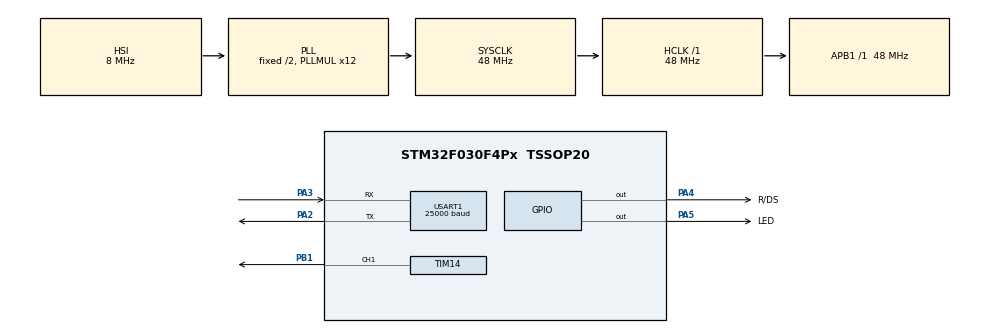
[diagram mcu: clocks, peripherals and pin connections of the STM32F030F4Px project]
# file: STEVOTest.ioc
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Mcu.Family=STM32F0
Mcu.Name=STM32F030F4Px
Mcu.Package=TSSOP20
NVIC.TIM1_BRK_UP_TRG_COM_IRQn=true\:0\:0\:false\:false\:true\:false\:true
NVIC.TIM3_IRQn=true\:0\:0\:false\:false\:true\:true\:true
NVIC.TimeBase=TIM1_BRK_UP_TRG_COM_IRQn
NVIC.TimeBaseIP=TIM1
NVIC.USART1_IRQn=true\:0\:0\:false\:false\:true\:true\:true
PA13.Mode=Serial_Wire
PA13.Signal=SYS_SWDIO
PA14.Mode=Serial_Wire
PA14.Signal=SYS_SWCLK
PA2.Mode=Asynchronous
PA2.Signal=USART1_TX
PA3.Mode=Asynchronous
PA3.Signal=USART1_RX
PA4.GPIO_Label=R/DS
PA4.Signal=GPIO_Output
PA5.GPIO_Label=LED
PA5.Signal=GPIO_Output
PB1.Signal=S_TIM14_CH1
ProjectManager.HeapSize=0x200
ProjectManager.StackSize=0x400
ProjectManager.TargetToolchain=STM32CubeIDE
RCC.AHBFreq_Value=48000000
RCC.APB1Freq_Value=48000000
RCC.APB1TimFreq_Value=48000000
RCC.HCLKFreq_Value=48000000
RCC.PLLMUL=RCC_PLL_MUL12
RCC.SYSCLKFreq_VALUE=48000000
RCC.SYSCLKSource=RCC_SYSCLKSOURCE_PLLCLK
SH.S_TIM14_CH1.0=TIM14_CH1,PWM Generation1 CH1
TIM14.AutoReloadPreload=TIM_AUTORELOAD_PRELOAD_ENABLE
TIM14.Channel=TIM_CHANNEL_1
TIM14.Period=999
TIM14.Prescaler=959
TIM3.AutoReloadPreload=TIM_AUTORELOAD_PRELOAD_ENABLE
TIM3.Period=999
TIM3.Prescaler=47
USART1.BaudRate=25000
USART1.VirtualMode-Asynchronous=VM_ASYNC
USART1.WordLength=WORDLENGTH_9B
VP_SYS_VS_tim1.Mode=TIM1
VP_TIM14_VS_ClockSourceINT.Mode=Enable_Timer
VP_TIM3_VS_ClockSourceINT.Mode=Internal
board=custom

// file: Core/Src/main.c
/* USER CODE BEGIN Header */
/**
  ******************************************************************************
  * @file           : main.c
  * @brief          : Main program body
  ******************************************************************************
  * @attention
  *
  * <h2><center>&copy; Copyright (c) 2020 STMicroelectronics.
  * All rights reserved.</center></h2>
  *
  * This software component is licensed by ST under BSD 3-Clause license,
  * the "License"; You may not use this file except in compliance with the
  * License. You may obtain a copy of the License at:
  *                        opensource.org/licenses/BSD-3-Clause
  *
  ******************************************************************************
  */
/* USER CODE END Header */
#include "main.h"

/* USER CODE BEGIN Includes */
#include "dmx512.h"
/* USER CODE END Includes */

TIM_HandleTypeDef htim3;
TIM_HandleTypeDef htim14;

UART_HandleTypeDef huart1;

void SystemClock_Config(void);
static void MX_GPIO_Init(void);
static void MX_TIM3_Init(void);
static void MX_USART1_UART_Init(void);
static void MX_TIM14_Init(void);
/* USER CODE BEGIN PFP */
void init_All_Perhaps(void);
void RS485_RW(S_455_RW rdwt);
/* USER CODE END PFP */

int main(void)
{

  /* MCU Configuration--------------------------------------------------------*/

  /* Reset of all peripherals, Initializes the Flash interface and the Systick. */
  HAL_Init();

  /* Configure the system clock */
  SystemClock_Config();

  /* Initialize all configured peripherals */
  MX_GPIO_Init();
  MX_TIM3_Init();
  MX_USART1_UART_Init();
  MX_TIM14_Init();
  /* USER CODE BEGIN 2 */
  init_All_Perhaps();
  /* USER CODE END 2 */

  /* Infinite loop */
  while (1)
  {

    /* USER CODE BEGIN 3 */
	  dmx512_service();
  }
  /* USER CODE END 3 */
}

void SystemClock_Config(void)
{
  RCC_OscInitTypeDef RCC_OscInitStruct = {0};
  RCC_ClkInitTypeDef RCC_ClkInitStruct = {0};
  RCC_PeriphCLKInitTypeDef PeriphClkInit = {0};

  /** Initializes the RCC Oscillators according to the specified parameters
  * in the RCC_OscInitTypeDef structure.
  */
  RCC_OscInitStruct.OscillatorType = RCC_OSCILLATORTYPE_HSI;
  RCC_OscInitStruct.HSIState = RCC_HSI_ON;
  RCC_OscInitStruct.HSICalibrationValue = RCC_HSICALIBRATION_DEFAULT;
  RCC_OscInitStruct.PLL.PLLState = RCC_PLL_ON;
  RCC_OscInitStruct.PLL.PLLSource = RCC_PLLSOURCE_HSI;
  RCC_OscInitStruct.PLL.PLLMUL = RCC_PLL_MUL12;
  RCC_OscInitStruct.PLL.PREDIV = RCC_PREDIV_DIV1;
  if (HAL_RCC_OscConfig(&RCC_OscInitStruct) != HAL_OK)
  {
    Error_Handler();
  }
  /** Initializes the CPU, AHB and APB buses clocks
  */
  RCC_ClkInitStruct.ClockType = RCC_CLOCKTYPE_HCLK|RCC_CLOCKTYPE_SYSCLK
                              |RCC_CLOCKTYPE_PCLK1;
  RCC_ClkInitStruct.SYSCLKSource = RCC_SYSCLKSOURCE_PLLCLK;
  RCC_ClkInitStruct.AHBCLKDivider = RCC_SYSCLK_DIV1;
  RCC_ClkInitStruct.APB1CLKDivider = RCC_HCLK_DIV1;

  if (HAL_RCC_ClockConfig(&RCC_ClkInitStruct, FLASH_LATENCY_1) != HAL_OK)
  {
    Error_Handler();
  }
  PeriphClkInit.PeriphClockSelection = RCC_PERIPHCLK_USART1;
  PeriphClkInit.Usart1ClockSelection = RCC_USART1CLKSOURCE_PCLK1;
  if (HAL_RCCEx_PeriphCLKConfig(&PeriphClkInit) != HAL_OK)
  {
    Error_Handler();
  }
}

static void MX_TIM3_Init(void)
{

  TIM_ClockConfigTypeDef sClockSourceConfig = {0};
  TIM_MasterConfigTypeDef sMasterConfig = {0};

  htim3.Instance = TIM3;
  htim3.Init.Prescaler = 47;
  htim3.Init.CounterMode = TIM_COUNTERMODE_UP;
  htim3.Init.Period = 999;
  htim3.Init.ClockDivision = TIM_CLOCKDIVISION_DIV1;
  htim3.Init.AutoReloadPreload = TIM_AUTORELOAD_PRELOAD_ENABLE;
  if (HAL_TIM_Base_Init(&htim3) != HAL_OK)
  {
    Error_Handler();
  }
  sClockSourceConfig.ClockSource = TIM_CLOCKSOURCE_INTERNAL;
  if (HAL_TIM_ConfigClockSource(&htim3, &sClockSourceConfig) != HAL_OK)
  {
    Error_Handler();
  }
  sMasterConfig.MasterOutputTrigger = TIM_TRGO_RESET;
  sMasterConfig.MasterSlaveMode = TIM_MASTERSLAVEMODE_DISABLE;
  if (HAL_TIMEx_MasterConfigSynchronization(&htim3, &sMasterConfig) != HAL_OK)
  {
    Error_Handler();
  }

}

static void MX_TIM14_Init(void)
{

  TIM_OC_InitTypeDef sConfigOC = {0};

  htim14.Instance = TIM14;
  htim14.Init.Prescaler = 959;
  htim14.Init.CounterMode = TIM_COUNTERMODE_UP;
  htim14.Init.Period = 999;
  htim14.Init.ClockDivision = TIM_CLOCKDIVISION_DIV1;
  htim14.Init.AutoReloadPreload = TIM_AUTORELOAD_PRELOAD_ENABLE;
  if (HAL_TIM_Base_Init(&htim14) != HAL_OK)
  {
    Error_Handler();
  }
  if (HAL_TIM_PWM_Init(&htim14) != HAL_OK)
  {
    Error_Handler();
  }
  sConfigOC.OCMode = TIM_OCMODE_PWM1;
  sConfigOC.Pulse = 0;
  sConfigOC.OCPolarity = TIM_OCPOLARITY_HIGH;
  sConfigOC.OCFastMode = TIM_OCFAST_DISABLE;
  if (HAL_TIM_PWM_ConfigChannel(&htim14, &sConfigOC, TIM_CHANNEL_1) != HAL_OK)
  {
    Error_Handler();
  }
  HAL_TIM_MspPostInit(&htim14);

}

static void MX_USART1_UART_Init(void)
{

  huart1.Instance = USART1;
  huart1.Init.BaudRate = 25000;
  huart1.Init.WordLength = UART_WORDLENGTH_9B;
  huart1.Init.StopBits = UART_STOPBITS_1;
  huart1.Init.Parity = UART_PARITY_NONE;
  huart1.Init.Mode = UART_MODE_TX_RX;
  huart1.Init.HwFlowCtl = UART_HWCONTROL_NONE;
  huart1.Init.OverSampling = UART_OVERSAMPLING_16;
  huart1.Init.OneBitSampling = UART_ONE_BIT_SAMPLE_DISABLE;
  huart1.AdvancedInit.AdvFeatureInit = UART_ADVFEATURE_NO_INIT;
  if (HAL_UART_Init(&huart1) != HAL_OK)
  {
    Error_Handler();
  }
  /* USER CODE BEGIN USART1_Init 2 */
  __HAL_UART_ENABLE_IT(&huart1,UART_IT_RXNE);

  /* USER CODE END USART1_Init 2 */

}

static void MX_GPIO_Init(void)
{
  GPIO_InitTypeDef GPIO_InitStruct = {0};

  /* GPIO Ports Clock Enable */
  __HAL_RCC_GPIOA_CLK_ENABLE();
  __HAL_RCC_GPIOB_CLK_ENABLE();

  /*Configure GPIO pin Output Level */
  HAL_GPIO_WritePin(GPIOA, R_DS_Pin|LED_Pin, GPIO_PIN_RESET);

  /*Configure GPIO pins : R_DS_Pin LED_Pin */
  GPIO_InitStruct.Pin = R_DS_Pin|LED_Pin;
  GPIO_InitStruct.Mode = GPIO_MODE_OUTPUT_PP;
  GPIO_InitStruct.Pull = GPIO_NOPULL;
  GPIO_InitStruct.Speed = GPIO_SPEED_FREQ_LOW;
  HAL_GPIO_Init(GPIOA, &GPIO_InitStruct);

}

/* USER CODE BEGIN 4 */
void init_All_Perhaps(void)
{
	//启动定时器3，准备接收处理数据
	HAL_TIM_Base_Start_IT(&htim3);
	//启动定时器14，启动舵机
	HAL_TIM_PWM_Start(&htim14,TIM_CHANNEL_1);
	//初始化舵机位置为0°，默认0.5-2.5ms,0.5ms为初始位置
	TIM14->CCR1 = 25;
	//打开485接收
	RS485_RW(S_READ);
}

void RS485_RW(S_455_RW rdwt)
{
  HAL_GPIO_WritePin(GPIOA, R_DS_Pin|LED_Pin, rdwt);
}
/* USER CODE END 4 */

 /**
  * @brief  Period elapsed callback in non blocking mode
  * @note   This function is called  when TIM1 interrupt took place, inside
  * HAL_TIM_IRQHandler(). It makes a direct call to HAL_IncTick() to increment
  * a global variable "uwTick" used as application time base.
  * @param  htim : TIM handle
  * @retval None
  */
void HAL_TIM_PeriodElapsedCallback(TIM_HandleTypeDef *htim)
{
  /* USER CODE BEGIN Callback 0 */
	static uint16_t x;

  /* USER CODE END Callback 0 */
  if (htim->Instance == TIM1) {
    HAL_IncTick();
  }
  /* USER CODE BEGIN Callback 1 */
  if (htim->Instance == TIM3) {

	  x++;
	  if(dmx512_model.tim_run==1)
	  {
		  dmx512_model.time_count++;
		  if(dmx512_model.time_count>30)
		  {
			  dmx512_model.tim_run=0;
			  dmx512_model.fist_right=0;
			  dmx512_model.rx_end=1;
			  dmx512_model.time_count =0;
		  }
	  }
  }
  /* USER CODE END Callback 1 */
}

void Error_Handler(void)
{
}

/************************ (C) COPYRIGHT STMicroelectronics *****END OF FILE****/
